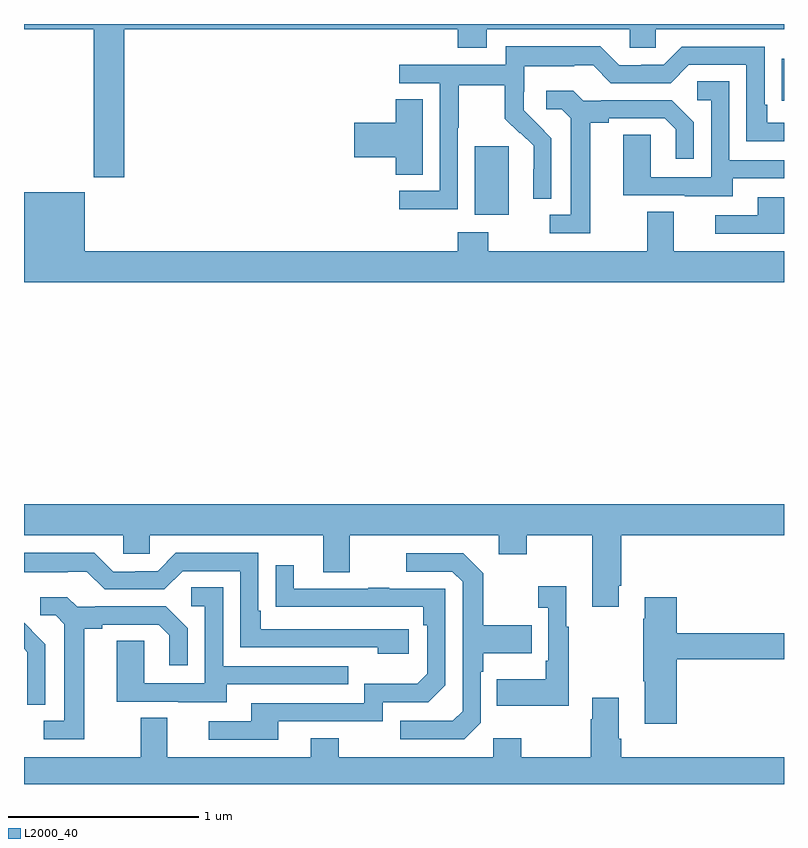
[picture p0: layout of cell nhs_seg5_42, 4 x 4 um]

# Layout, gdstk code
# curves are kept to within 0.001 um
import gdstk
lib = gdstk.Library(unit=1e-6, precision=1e-09)
def R(c, l, rs):  # rectangles x0, y0, x1, y1
    for r in rs: c.add(gdstk.rectangle(r[:2], r[2:], *l))
def P(c, l, *ps):  # polygons
    for p in ps: c.add(gdstk.Polygon(p, *l))
L2000_40 = (2000, 40)

nhs_seg5_42 = lib.new_cell('nhs_seg5_42')
R(nhs_seg5_42, L2000_40, [(115.373,843.794,115.552,844.155), (116.989,844.396,117,844.615)])
P(nhs_seg5_42, L2000_40, [(113.528,844.772),(115.283,844.772),(115.283,844.673),(115.435,844.673),(115.435,844.772),(116.187,844.772),(116.187,844.674),(116.325,844.674),(116.325,844.772),(117,844.772),(117,844.799),(113,844.799),(113,844.772),(113.368,844.772),(113.368,843.993),(113.528,843.993)],
  [(115.284,844.252),(115.287,844.252),(115.287,844.476),(115.531,844.476),(115.531,844.301),(115.608,844.224),(115.611,844.227),(115.682,844.157),(115.682,844.034),(115.68,844.034),(115.68,843.88),(115.776,843.88),(115.776,844.198),(115.63,844.346),(115.63,844.443),(115.632,844.443),(115.632,844.577),(115.895,844.577),(115.895,844.581),(115.995,844.581),(116.088,844.488),(116.403,844.488),(116.499,844.584),(116.802,844.584),(116.802,844.182),(117,844.182),(117,844.278),(116.911,844.278),(116.911,844.375),(116.898,844.375),(116.898,844.68),(116.463,844.68),(116.367,844.584),(116.249,844.584),(116.249,844.581),(116.133,844.581),(116.033,844.681),(115.536,844.681),(115.536,844.584),(114.975,844.584),(114.975,844.488),(115.188,844.488),(115.188,843.921),(114.975,843.921),(114.975,843.823),(115.284,843.823)],
  [(116.731,843.987),(117,843.987),(117,844.083),(116.712,844.083),(116.712,844.499),(116.544,844.499),(116.544,844.398),(116.616,844.398),(116.616,843.993),(116.298,843.993),(116.298,844.217),(116.153,844.217),(116.153,843.897),(116.477,843.897),(116.477,843.893),(116.731,843.893)],
  [(115.981,844.28),(116.077,844.28),(116.077,844.302),(116.372,844.302),(116.429,844.245),(116.429,844.089),(116.526,844.089),(116.526,844.282),(116.41,844.398),(116.038,844.398),(116.038,844.395),(115.944,844.395),(115.892,844.447),(115.749,844.447),(115.749,844.35),(115.83,844.35),(115.877,844.303),(115.877,843.795),(115.767,843.795),(115.767,843.699),(115.981,843.699)],
  [(115.099,844.403),(114.956,844.403),(114.956,844.28),(114.738,844.28),(114.738,844.097),(114.956,844.097),(114.956,844.006),(115.099,844.006)],
  [(117,843.604),(116.419,843.604),(116.419,843.812),(116.279,843.812),(116.279,843.604),(115.443,843.604),(115.443,843.703),(115.283,843.703),(115.283,843.604),(113.32,843.604),(113.32,843.913),(113,843.913),(113,843.44),(117,843.44)],
  [(117,843.888),(116.861,843.888),(116.861,843.792),(116.637,843.792),(116.637,843.696),(117,843.696)],
  [(116.131,841.843),(116.144,841.843),(116.144,842.108),(117,842.108),(117,842.272),(113,842.272),(113,842.108),(113.523,842.108),(113.523,842.01),(113.661,842.01),(113.661,842.108),(114.575,842.108),(114.575,841.914),(114.715,841.914),(114.715,842.108),(115.499,842.108),(115.499,842.009),(115.647,842.009),(115.647,842.108),(115.991,842.108),(115.991,841.731),(116.131,841.731)],
  [(115.024,841.614),(114.247,841.614),(114.247,841.711),(114.234,841.711),(114.234,842.016),(113.799,842.016),(113.703,841.92),(113.585,841.92),(113.585,841.917),(113.469,841.917),(113.369,842.017),(113,842.017),(113,841.913),(113.231,841.913),(113.231,841.917),(113.331,841.917),(113.424,841.824),(113.739,841.824),(113.835,841.92),(114.138,841.92),(114.138,841.518),(114.863,841.518),(114.863,841.484),(115.024,841.484)],
  [(115.404,841.122),(115.404,841.391),(115.417,841.391),(115.417,841.487),(115.673,841.487),(115.673,841.635),(115.417,841.635),(115.417,841.907),(115.311,842.013),(115.011,842.013),(115.011,841.917),(115.254,841.917),(115.308,841.863),(115.308,841.182),(115.257,841.131),(114.981,841.131),(114.981,841.035),(115.317,841.035)],
  [(114.337,841.128),(114.888,841.128),(114.888,841.23),(115.128,841.23),(115.218,841.32),(115.218,841.827),(114.923,841.827),(114.923,841.832),(114.811,841.832),(114.811,841.827),(114.421,841.827),(114.421,841.951),(114.325,841.951),(114.325,841.732),(115.102,841.731),(115.102,841.634),(115.122,841.634),(115.122,841.38),(115.069,841.327),(114.792,841.327),(114.792,841.224),(114.197,841.224),(114.197,841.128),(113.973,841.128),(113.973,841.032),(114.337,841.032)],
  [(115.867,841.627),(115.855,841.627),(115.855,841.84),(115.707,841.84),(115.707,841.727),(115.758,841.727),(115.758,841.447),(115.746,841.447),(115.746,841.351),(115.489,841.351),(115.489,841.211),(115.867,841.211)],
  [(114.067,841.323),(114.707,841.323),(114.707,841.419),(114.048,841.419),(114.048,841.835),(113.88,841.835),(113.88,841.734),(113.952,841.734),(113.952,841.329),(113.634,841.329),(113.634,841.553),(113.489,841.553),(113.489,841.233),(113.813,841.233),(113.813,841.229),(114.067,841.229)],
  [(116.435,841.456),(117,841.456),(117,841.592),(116.435,841.592),(116.435,841.783),(116.267,841.783),(116.267,841.67),(116.26,841.67),(116.26,841.339),(116.267,841.339),(116.267,841.116),(116.435,841.116)],
  [(113.317,841.616),(113.413,841.616),(113.413,841.638),(113.708,841.638),(113.765,841.581),(113.765,841.425),(113.862,841.425),(113.862,841.618),(113.746,841.734),(113.374,841.734),(113.374,841.731),(113.28,841.731),(113.228,841.783),(113.085,841.783),(113.085,841.686),(113.166,841.686),(113.213,841.639),(113.213,841.131),(113.103,841.131),(113.103,841.035),(113.317,841.035)],
  [(113.112,841.534),(113.039,841.607),(113.04,841.608),(113,841.648),(113,841.511),(113.018,841.493),(113.018,841.37),(113.016,841.37),(113.016,841.216),(113.112,841.216)],
  [(117,840.94),(116.144,840.94),(116.144,841.036),(116.131,841.036),(116.131,841.252),(115.991,841.252),(115.991,841.139),(115.984,841.139),(115.984,840.94),(115.617,840.94),(115.617,841.039),(115.47,841.039),(115.47,840.94),(114.657,840.94),(114.657,841.039),(114.509,841.039),(114.509,840.94),(113.755,840.94),(113.755,841.148),(113.615,841.148),(113.615,840.94),(113,840.94),(113,840.799),(117,840.799)])

lib.write_gds('nhs_seg5_42.gds')
